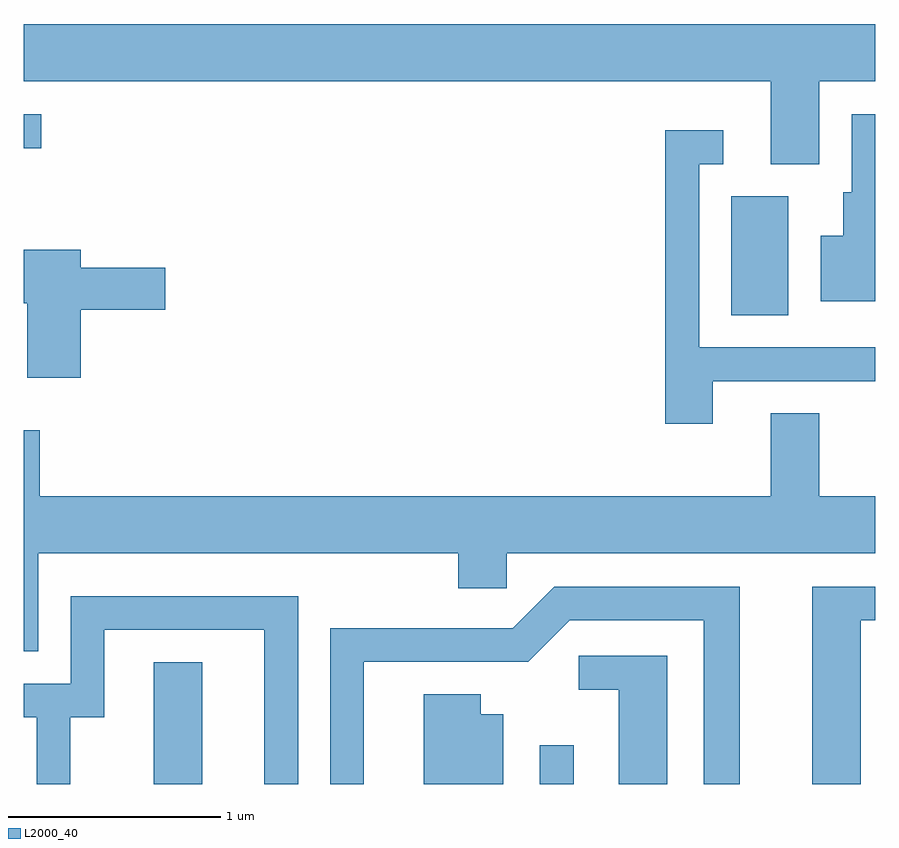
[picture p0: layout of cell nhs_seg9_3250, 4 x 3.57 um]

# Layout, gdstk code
import gdstk
lib = gdstk.Library(unit=1e-6, precision=1e-09)
def R(c, l, rs):  # rectangles x0, y0, x1, y1
    for r in rs: c.add(gdstk.rectangle(r[:2], r[2:], *l))
def P(c, l, *ps):  # polygons
    for p in ps: c.add(gdstk.Polygon(p, *l))
L2000_40 = (2000, 40)

nhs_seg9_3250 = lib.new_cell('nhs_seg9_3250')
R(nhs_seg9_3250, L2000_40, [(280.221,2068.432,280.449,2069.004), (282.036,2068.432,282.194,2068.613), (282.936,2070.636,283.204,2071.194), (279.611,2071.421,279.693,2071.579)])
P(nhs_seg9_3250, L2000_40, [(283.349,2071.736),(283.611,2071.736),(283.611,2072.004),(279.611,2072.004),(279.611,2071.736),(283.121,2071.736),(283.121,2071.346),(283.349,2071.346)],
  [(283.611,2071.579),(283.501,2071.579),(283.501,2071.214),(283.461,2071.214),(283.461,2071.009),(283.356,2071.009),(283.356,2070.701),(283.611,2070.701)],
  [(282.849,2070.326),(283.611,2070.326),(283.611,2070.484),(282.784,2070.484),(282.784,2071.346),(282.898,2071.346),(282.898,2071.504),(282.626,2071.504),(282.626,2070.126),(282.849,2070.126)],
  [(279.879,2070.661),(280.274,2070.661),(280.274,2070.859),(279.879,2070.859),(279.879,2070.944),(279.611,2070.944),(279.611,2070.691),(279.626,2070.691),(279.626,2070.341),(279.879,2070.341)],
  [(279.679,2069.516),(281.651,2069.516),(281.651,2069.351),(281.879,2069.351),(281.879,2069.516),(283.611,2069.516),(283.611,2069.784),(283.349,2069.784),(283.349,2070.174),(283.121,2070.174),(283.121,2069.784),(279.684,2069.784),(279.684,2070.094),(279.611,2070.094),(279.611,2069.056),(279.679,2069.056)],
  [(281.209,2069.006),(281.982,2069.006),(282.177,2069.201),(282.806,2069.201),(282.806,2068.432),(282.974,2068.432),(282.974,2069.359),(282.104,2069.359),(281.909,2069.164),(281.051,2069.164),(281.051,2068.432),(281.209,2068.432)],
  [(283.544,2069.201),(283.611,2069.201),(283.611,2069.359),(283.316,2069.359),(283.316,2068.432),(283.544,2068.432)],
  [(279.829,2068.746),(279.989,2068.746),(279.989,2069.156),(280.741,2069.156),(280.741,2068.432),(280.899,2068.432),(280.899,2069.314),(279.831,2069.314),(279.831,2068.904),(279.611,2068.904),(279.611,2068.746),(279.671,2068.746),(279.671,2068.432),(279.829,2068.432)],
  [(282.634,2069.034),(282.218,2069.034),(282.218,2068.876),(282.406,2068.876),(282.406,2068.432),(282.634,2068.432)],
  [(281.864,2068.759),(281.759,2068.759),(281.759,2068.854),(281.491,2068.854),(281.491,2068.432),(281.864,2068.432)])

lib.write_gds('nhs_seg9_3250.gds')
